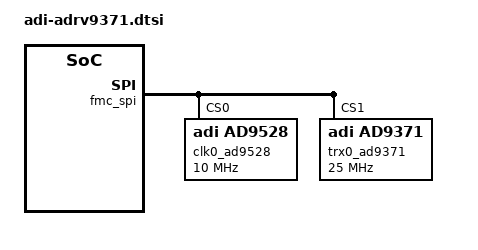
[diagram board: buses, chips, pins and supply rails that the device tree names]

#include <dt-bindings/iio/frequency/ad9528.h>

&fmc_spi {

	clk0_ad9528: ad9528-1@0 {
		compatible = "adi,ad9528";
		reg = <0>;

		#address-cells = <1>;
		#size-cells = <0>;

		spi-max-frequency = <10000000>;
		//adi,spi-3wire-enable;

		clock-output-names = "ad9528-1_out0", "ad9528-1_out1", "ad9528-1_out2", "ad9528-1_out3", "ad9528-1_out4", "ad9528-1_out5", "ad9528-1_out6", "ad9528-1_out7", "ad9528-1_out8", "ad9528-1_out9", "ad9528-1_out10", "ad9528-1_out11", "ad9528-1_out12", "ad9528-1_out13";
		#clock-cells = <1>;

		adi,vcxo-freq = <122880000>;

		adi,refa-enable;
		adi,refa-diff-rcv-enable;
		adi,refa-r-div = <1>;
		adi,osc-in-cmos-neg-inp-enable;

		/* PLL1 config */
		adi,pll1-feedback-div = <4>;
		adi,pll1-charge-pump-current-nA = <5000>;


		/* PLL2 config */
		adi,pll2-vco-div-m1 = <3>; /* use 5 for 184320000 output device clock */
		adi,pll2-n2-div = <10>; /* N / M1 */
		adi,pll2-r1-div = <1>;
		adi,pll2-charge-pump-current-nA = <805000>;

		/* SYSREF config */
		adi,sysref-src = <SYSREF_SRC_INTERNAL>;
		adi,sysref-pattern-mode = <SYSREF_PATTERN_CONTINUOUS>;
		adi,sysref-k-div = <512>;
		adi,sysref-request-enable;
		adi,sysref-nshot-mode = <SYSREF_NSHOT_4_PULSES>;
		adi,sysref-request-trigger-mode = <SYSREF_LEVEL_HIGH>;

		adi,rpole2 = <RPOLE2_900_OHM>;
		adi,rzero = <RZERO_1850_OHM>;
		adi,cpole1 = <CPOLE1_16_PF>;

		adi,status-mon-pin0-function-select = <1>; /* PLL1 & PLL2 Locked */
		adi,status-mon-pin1-function-select = <7>; /* REFA Correct */

		ad9528_0_c13: channel@13 {
			reg = <13>;
			adi,extended-name = "DEV_CLK";
			adi,driver-mode = <DRIVER_MODE_LVDS>;
			adi,divider-phase = <0>;
			adi,channel-divider = <10>;
			adi,signal-source = <SOURCE_VCO>;
		};

		ad9528_0_c1: channel@1 {
			reg = <1>;
			adi,extended-name = "FMC_CLK";
			adi,driver-mode = <DRIVER_MODE_LVDS>;
			adi,divider-phase = <0>;
			adi,channel-divider = <10>;
			adi,signal-source = <SOURCE_VCO>;
		};

		ad9528_0_c12: channel@12 {
			reg = <12>;
			adi,extended-name = "DEV_SYSREF";
			adi,driver-mode = <DRIVER_MODE_LVDS>;
			adi,divider-phase = <0>;
			adi,channel-divider = <10>;
			adi,signal-source = <SOURCE_SYSREF_VCO>;
		};

		ad9528_0_c3: channel@3 {
			reg = <3>;
			adi,extended-name = "FMC_SYSREF";
			adi,driver-mode = <DRIVER_MODE_LVDS>;
			adi,divider-phase = <0>;
			adi,channel-divider = <10>;
			adi,signal-source = <SOURCE_SYSREF_VCO>;
		};

	};


	trx0_ad9371: ad9371-phy@1 {
		compatible = "adi,ad9371";
		reg = <1>;

		/* SPI Setup */
		spi-max-frequency = <25000000>;

		/* Clocks */
		clocks = <&axi_ad9371_rx_jesd>, <&axi_ad9371_tx_jesd>,
			<&axi_ad9371_rx_os_jesd>, <&clk0_ad9528 13>,
			<&clk0_ad9528 1>,  <&clk0_ad9528 12>, <&clk0_ad9528 3>;
		clock-names = "jesd_rx_clk", "jesd_tx_clk",
			"jesd_rx_os_clk", "dev_clk", "fmc_clk",
			"sysref_dev_clk", "sysref_fmc_clk";

		clock-output-names = "rx_sampl_clk", "rx_os_sampl_clk", "tx_sampl_clk";
		#clock-cells = <1>;

		adi,clocks-clk-pll-vco-freq_khz = <9830400>;
		adi,clocks-device-clock_khz = <122880>;
		adi,clocks-clk-pll-hs-div = <4>;
		adi,clocks-clk-pll-vco-div = <2>;

		adi,jesd204-obs-framer-over-sample = <0>;

		adi,rx-profile-adc-div = <1>;
		adi,rx-profile-en-high-rej-dec5 = <1>;
		adi,rx-profile-iq-rate_khz = <122880>;
		adi,rx-profile-rf-bandwidth_hz = <100000000>;
		adi,rx-profile-rhb1-decimation = <1>;
		adi,rx-profile-rx-bbf-3db-corner_khz = <100000>;
		adi,rx-profile-rx-dec5-decimation = <5>;
		adi,rx-profile-rx-fir-decimation = <2>;

		adi,rx-profile-rx-fir-gain_db = <(-6)>;
		adi,rx-profile-rx-fir-num-fir-coefs = <48>;
		adi,rx-profile-rx-fir-coefs = /bits/ 16 <(-5) (-26) (32) (51) (-67) (-116) (140) (212) (-252) (-367) (429) (595) (-688) (-931) (1072) (1427) (-1650) (-2188) (2612) (3496) (-4802) (-7591) (9656) (32317) (32317) (9656) (-7591) (-4802) (3496) (2612) (-2188) (-1650) (1427) (1072) (-931) (-688) (595) (429) (-367) (-252) (212) (140) (-116) (-67) (51) (32) (-26) (-5)>;

		adi,rx-profile-custom-adc-profile = /bits/ 16  <534 386 201 98 1280 491 1591 279 1306 104 792 28 48 39 23 187>;

		adi,obs-profile-adc-div = <1>;
		adi,obs-profile-en-high-rej-dec5 = <1>;
		adi,obs-profile-iq-rate_khz = <245760>;
		adi,obs-profile-rf-bandwidth_hz = <200000000>;
		adi,obs-profile-rhb1-decimation = <1>;
		adi,obs-profile-rx-bbf-3db-corner_khz = <100000>;
		adi,obs-profile-rx-dec5-decimation = <5>;
		adi,obs-profile-rx-fir-decimation = <1>;

		adi,obs-profile-rx-fir-gain_db = <6>;
		adi,obs-profile-rx-fir-num-fir-coefs = <24>;
		adi,obs-profile-rx-fir-coefs = /bits/ 16 <(-289) (81) (-23) (-86) (229) (-354) (397) (-233) (-657) (1699) (-4172) (23010) (-4172) (1699) (-657) (-233) (397) (-354) (229) (-86) (-23) (81) (-289) (0)>;

		adi,obs-profile-custom-adc-profile = /bits/ 16  <450 349 201 98 1280 730 1626 818 1476 732 834 20 41 36 24 200>;
		adi,obs-settings-custom-loopback-adc-profile = /bits/ 16  <569 369 201 98 1280 291 1541 149 1320 58 807 34 48 40 23 189>;

		adi,tx-profile-dac-div = <1>;
		adi,tx-profile-iq-rate_khz = <245760>;
		adi,tx-profile-primary-sig-bandwidth_hz = <75000000>;
		adi,tx-profile-rf-bandwidth_hz = <200000000>;
		adi,tx-profile-thb1-interpolation = <2>;
		adi,tx-profile-thb2-interpolation = <1>;
		adi,tx-profile-tx-bbf-3db-corner_khz = <100000>;
		adi,tx-profile-tx-dac-3db-corner_khz = <187000>;
		adi,tx-profile-tx-fir-interpolation = <1>;
		adi,tx-profile-tx-input-hb-interpolation = <1>;

		adi,tx-profile-tx-fir-gain_db = <6>;
		adi,tx-profile-tx-fir-num-fir-coefs = <16>;
		adi,tx-profile-tx-fir-coefs = /bits/ 16 <(6) (-270) (203) (-168) (-84) (983) (-3222) (21143) (-3222) (983) (-84) (-168) (203) (-270) (6) (0)>;

		adi,sniffer-profile-adc-div = <1>;
		adi,sniffer-profile-en-high-rej-dec5 = <0>;
		adi,sniffer-profile-iq-rate_khz = <30720>;
		adi,sniffer-profile-rf-bandwidth_hz = <20000000>;
		adi,sniffer-profile-rhb1-decimation = <2>;
		adi,sniffer-profile-rx-bbf-3db-corner_khz = <100000>;
		adi,sniffer-profile-rx-dec5-decimation = <5>;
		adi,sniffer-profile-rx-fir-decimation = <4>;
	};
};

